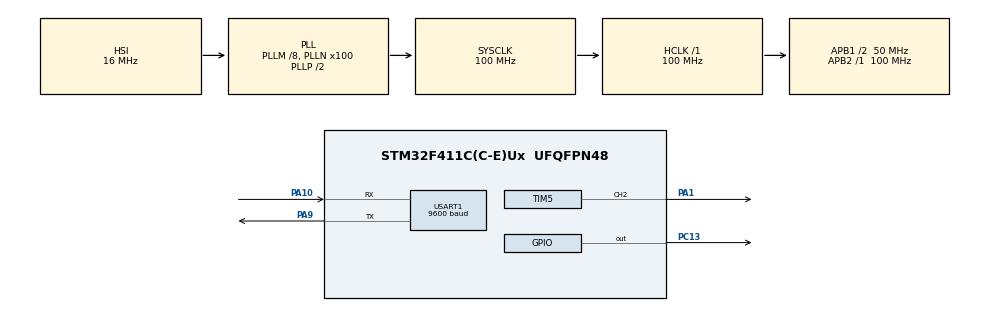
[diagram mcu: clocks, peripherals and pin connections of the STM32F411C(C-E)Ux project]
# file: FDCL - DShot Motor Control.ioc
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Dma.Request0=TIM5_CH2
Dma.TIM5_CH2.0.Direction=DMA_MEMORY_TO_PERIPH
Dma.TIM5_CH2.0.FIFOMode=DMA_FIFOMODE_DISABLE
Dma.TIM5_CH2.0.Instance=DMA1_Stream4
Dma.TIM5_CH2.0.MemDataAlignment=DMA_MDATAALIGN_HALFWORD
Dma.TIM5_CH2.0.MemInc=DMA_MINC_ENABLE
Dma.TIM5_CH2.0.Mode=DMA_NORMAL
Dma.TIM5_CH2.0.PeriphDataAlignment=DMA_PDATAALIGN_HALFWORD
Dma.TIM5_CH2.0.PeriphInc=DMA_PINC_DISABLE
Dma.TIM5_CH2.0.Priority=DMA_PRIORITY_VERY_HIGH
Mcu.Family=STM32F4
Mcu.Name=STM32F411C(C-E)Ux
Mcu.Package=UFQFPN48
NVIC.DMA1_Stream4_IRQn=true\:0\:0\:false\:false\:true\:false\:true\:true
NVIC.PriorityGroup=NVIC_PRIORITYGROUP_4
PA1.GPIO_ModeDefaultPP=GPIO_MODE_AF_PP
PA1.GPIO_Speed=GPIO_SPEED_FREQ_VERY_HIGH
PA1.Signal=S_TIM5_CH2
PA10.Mode=Asynchronous
PA10.Signal=USART1_RX
PA9.Mode=Asynchronous
PA9.Signal=USART1_TX
PC13-ANTI_TAMP.GPIO_Speed=GPIO_SPEED_FREQ_LOW
PC13-ANTI_TAMP.PinState=GPIO_PIN_RESET
PC13-ANTI_TAMP.Signal=GPIO_Output
ProjectManager.HeapSize=0x200
ProjectManager.StackSize=0x400
ProjectManager.TargetToolchain=STM32CubeIDE
RCC.48MHZClocksFreq_Value=50000000
RCC.AHBFreq_Value=100000000
RCC.APB1CLKDivider=RCC_HCLK_DIV2
RCC.APB1Freq_Value=50000000
RCC.APB1TimFreq_Value=100000000
RCC.APB2Freq_Value=100000000
RCC.APB2TimFreq_Value=100000000
RCC.CortexFreq_Value=100000000
RCC.HCLKFreq_Value=100000000
RCC.HSE_VALUE=25000000
RCC.HSI_VALUE=16000000
RCC.LSE_VALUE=32768
RCC.PLLM=8
RCC.PLLN=100
RCC.SYSCLKFreq_VALUE=100000000
RCC.SYSCLKSource=RCC_SYSCLKSOURCE_PLLCLK
RCC.VCOOutputFreq_Value=200000000
SH.S_TIM5_CH2.0=TIM5_CH2,PWM Generation2 CH2
TIM5.AutoReloadPreload=TIM_AUTORELOAD_PRELOAD_DISABLE
TIM5.Channel-PWM\ Generation2\ CH2=TIM_CHANNEL_2
TIM5.OCPolarity_2=TIM_OCPOLARITY_LOW
TIM5.Period=166
USART1.BaudRate=9600
USART1.Mode=MODE_TX_RX
USART1.VirtualMode=VM_ASYNC
board=custom

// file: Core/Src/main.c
/* USER CODE BEGIN Header */
/**
  ******************************************************************************
  * @file           : main.c
  * @brief          : Main program body
  ******************************************************************************
  * @attention
  *
  * Copyright (c) 2025 STMicroelectronics.
  * All rights reserved.
  *
  * This software is licensed under terms that can be found in the LICENSE file
  * in the root directory of this software component.
  * If no LICENSE file comes with this software, it is provided AS-IS.
  *
  ******************************************************************************
  */
/* USER CODE END Header */
#include "main.h"

/* USER CODE BEGIN Includes */
#include "stm32f4xx_hal.h"
#include "stm32f4xx_hal_tim.h"
#include "stm32f4xx_hal_dma.h"
#include <stdio.h>

#define DSHOT600_US 1.67
#define DSHOT300_US 3.33
#define DSHOT150_US 6.67

#define DSHOT_MODE_US DSHOT600_US  // just swap this one line to change mode

#define DSHOT_FRAME_SIZE 16
#define DSHOT_BUFFER_SIZE (DSHOT_FRAME_SIZE + 2)  // 16 bits + 2 trailing zeros
#define DSHOT_TIMER_FREQ 100000000                // 100 MHz = 10 ns per tick

#define DSHOT_BIT_TICKS 167//((uint32_t)(DSHOT_MODE_US * (DSHOT_TIMER_FREQ / 1e6) + 0.5))

/* ----- HIGH AND LOW DEFINITIONS FOR LOW CH POLARITY ----- */
#define DSHOT_LOW ((DSHOT_BIT_TICKS * 750 + 500) / 1000)  // +50 for rounding
#define DSHOT_HIGH ((DSHOT_BIT_TICKS * 375 + 500) / 1000)   // +50 for rounding

#define STANDARD_DSHOT_DELAY 1000

extern UART_HandleTypeDef huart1;

/* USER CODE END Includes */

TIM_HandleTypeDef htim5;
DMA_HandleTypeDef hdma_tim5_ch2;

UART_HandleTypeDef huart1;

/* USER CODE BEGIN PV */
uint16_t dshot_buffer[DSHOT_BUFFER_SIZE];

volatile uint8_t dma_busy = 0;
/* USER CODE END PV */

void SystemClock_Config(void);
static void MX_GPIO_Init(void);
static void MX_DMA_Init(void);
static void MX_USART1_UART_Init(void);
static void MX_TIM5_Init(void);
/* USER CODE BEGIN PFP */
void DWT_Init(void);
/* USER CODE END PFP */

/* USER CODE BEGIN 0 */
static void prepare_dshot_packet(uint16_t throttle, uint8_t telemetry);
void send_dshot(uint16_t value, uint8_t telemetry);
void HAL_TIM_PWM_PulseFinishedCallback(TIM_HandleTypeDef *htim);

void delay_us(uint32_t us);
void ramp_dshot(uint16_t start, uint16_t stop, uint8_t telemetry);
void sustained_dshot300(uint16_t value, uint8_t telemetry, uint16_t duration_ms);
void delay_us(uint32_t us);
/* USER CODE END 0 */

int main(void)
{

  /* MCU Configuration--------------------------------------------------------*/

  /* Reset of all peripherals, Initializes the Flash interface and the Systick. */
  HAL_Init();

  /* USER CODE BEGIN Init */
  DWT_Init();
  SystemClock_Config();
  SystemCoreClockUpdate();
  /* USER CODE END Init */

  /* Configure the system clock */
  SystemClock_Config();

  /* Initialize all configured peripherals */
  MX_GPIO_Init();
  MX_DMA_Init();
  MX_USART1_UART_Init();
  MX_TIM5_Init();
  /* USER CODE BEGIN 2 */

  uint32_t realHCLK = HAL_RCC_GetHCLKFreq();
  uint32_t realSys = HAL_RCC_GetSysClockFreq();

  printf("\nDShot Bit Ticks: %d\r\n", (int)DSHOT_BIT_TICKS);
  printf("DShot High: %d\r\n", (int)DSHOT_HIGH);
  printf("DShot Low: %d\r\n", (int)DSHOT_LOW);
  printf("DShot Buffer Size: %d\r\n", DSHOT_BUFFER_SIZE);
  printf("Real HCLK: %lu Hz\r\n", realHCLK);
  printf("Real SYSCLK: %lu Hz\r\n", realSys);
  //HAL_Delay(2500);

  /*
  //If using 25 us delay ----> 20 000 iterations needed for one second
  printf("ARMING.\r\n");
  for (int i = 0; i < 3; i++) {
      send_dshot(0, 0);
      HAL_Delay(1);
  }
  send_dshot(1, 0);  // BlueJay command for initialization (e.g., enable bidirectional mode)
  HAL_Delay(500);    // Wait 500 ms
  send_dshot(48, 0); // Minimum throttle
  HAL_Delay(500);    // Wait 500 ms
  printf("--------------- Initialization Complete ---------------\r\n");
  */
  /* USER CODE END 2 */

  /* Infinite loop */
  /* USER CODE BEGIN WHILE */
  //printf("Sending DShot Throttle Pulses\r\n");
  while (1)
  {
	  send_dshot(100,0);
	  delay_us(500);

  }
    /* USER CODE END WHILE */

}

void SystemClock_Config(void)
{
  RCC_OscInitTypeDef RCC_OscInitStruct = {0};
  RCC_ClkInitTypeDef RCC_ClkInitStruct = {0};

  /** Configure the main internal regulator output voltage
  */
  __HAL_RCC_PWR_CLK_ENABLE();
  __HAL_PWR_VOLTAGESCALING_CONFIG(PWR_REGULATOR_VOLTAGE_SCALE1);

  /** Initializes the RCC Oscillators according to the specified parameters
  * in the RCC_OscInitTypeDef structure.
  */
  RCC_OscInitStruct.OscillatorType = RCC_OSCILLATORTYPE_HSI;
  RCC_OscInitStruct.HSIState = RCC_HSI_ON;
  RCC_OscInitStruct.HSICalibrationValue = RCC_HSICALIBRATION_DEFAULT;
  RCC_OscInitStruct.PLL.PLLState = RCC_PLL_ON;
  RCC_OscInitStruct.PLL.PLLSource = RCC_PLLSOURCE_HSI;
  RCC_OscInitStruct.PLL.PLLM = 8;
  RCC_OscInitStruct.PLL.PLLN = 100;
  RCC_OscInitStruct.PLL.PLLP = RCC_PLLP_DIV2;
  RCC_OscInitStruct.PLL.PLLQ = 4;
  if (HAL_RCC_OscConfig(&RCC_OscInitStruct) != HAL_OK)
  {
    Error_Handler();
  }

  /** Initializes the CPU, AHB and APB buses clocks
  */
  RCC_ClkInitStruct.ClockType = RCC_CLOCKTYPE_HCLK|RCC_CLOCKTYPE_SYSCLK
                              |RCC_CLOCKTYPE_PCLK1|RCC_CLOCKTYPE_PCLK2;
  RCC_ClkInitStruct.SYSCLKSource = RCC_SYSCLKSOURCE_PLLCLK;
  RCC_ClkInitStruct.AHBCLKDivider = RCC_SYSCLK_DIV1;
  RCC_ClkInitStruct.APB1CLKDivider = RCC_HCLK_DIV2;
  RCC_ClkInitStruct.APB2CLKDivider = RCC_HCLK_DIV1;

  if (HAL_RCC_ClockConfig(&RCC_ClkInitStruct, FLASH_LATENCY_3) != HAL_OK)
  {
    Error_Handler();
  }
}

static void MX_TIM5_Init(void)
{

  TIM_MasterConfigTypeDef sMasterConfig = {0};
  TIM_OC_InitTypeDef sConfigOC = {0};

  htim5.Instance = TIM5;
  htim5.Init.Prescaler = 0;
  htim5.Init.CounterMode = TIM_COUNTERMODE_UP;
  htim5.Init.Period = 166;
  htim5.Init.ClockDivision = TIM_CLOCKDIVISION_DIV1;
  htim5.Init.AutoReloadPreload = TIM_AUTORELOAD_PRELOAD_DISABLE;
  if (HAL_TIM_PWM_Init(&htim5) != HAL_OK)
  {
    Error_Handler();
  }
  sMasterConfig.MasterOutputTrigger = TIM_TRGO_RESET;
  sMasterConfig.MasterSlaveMode = TIM_MASTERSLAVEMODE_DISABLE;
  if (HAL_TIMEx_MasterConfigSynchronization(&htim5, &sMasterConfig) != HAL_OK)
  {
    Error_Handler();
  }
  sConfigOC.OCMode = TIM_OCMODE_PWM1;
  sConfigOC.Pulse = 0;
  sConfigOC.OCPolarity = TIM_OCPOLARITY_LOW;
  sConfigOC.OCFastMode = TIM_OCFAST_DISABLE;
  if (HAL_TIM_PWM_ConfigChannel(&htim5, &sConfigOC, TIM_CHANNEL_2) != HAL_OK)
  {
    Error_Handler();
  }
  /* USER CODE BEGIN TIM5_Init 2 */
  // After configuring PWM channel
  /* USER CODE END TIM5_Init 2 */
  HAL_TIM_MspPostInit(&htim5);

}

static void MX_USART1_UART_Init(void)
{

  huart1.Instance = USART1;
  huart1.Init.BaudRate = 9600;
  huart1.Init.WordLength = UART_WORDLENGTH_8B;
  huart1.Init.StopBits = UART_STOPBITS_1;
  huart1.Init.Parity = UART_PARITY_NONE;
  huart1.Init.Mode = UART_MODE_TX_RX;
  huart1.Init.HwFlowCtl = UART_HWCONTROL_NONE;
  huart1.Init.OverSampling = UART_OVERSAMPLING_16;
  if (HAL_UART_Init(&huart1) != HAL_OK)
  {
    Error_Handler();
  }

}

static void MX_DMA_Init(void)
{

  /* DMA controller clock enable */
  __HAL_RCC_DMA1_CLK_ENABLE();

  /* DMA interrupt init */
  /* DMA1_Stream4_IRQn interrupt configuration */
  HAL_NVIC_SetPriority(DMA1_Stream4_IRQn, 0, 0);
  HAL_NVIC_EnableIRQ(DMA1_Stream4_IRQn);

}

static void MX_GPIO_Init(void)
{
  GPIO_InitTypeDef GPIO_InitStruct = {0};

  /* GPIO Ports Clock Enable */
  __HAL_RCC_GPIOC_CLK_ENABLE();
  __HAL_RCC_GPIOA_CLK_ENABLE();

  /*Configure GPIO pin Output Level */
  HAL_GPIO_WritePin(GPIOC, GPIO_PIN_13, GPIO_PIN_RESET);

  /*Configure GPIO pin : PC13 */
  GPIO_InitStruct.Pin = GPIO_PIN_13;
  GPIO_InitStruct.Mode = GPIO_MODE_OUTPUT_PP;
  GPIO_InitStruct.Pull = GPIO_NOPULL;
  GPIO_InitStruct.Speed = GPIO_SPEED_FREQ_LOW;
  HAL_GPIO_Init(GPIOC, &GPIO_InitStruct);

}

/* USER CODE BEGIN 4 */
/**
 * @brief Prepares the DShot packet and fills the DMA buffer.
 * @param throttle: Throttle value (0-2047)
 * @param telemetry: Telemetry request flag (0 or 1)
 */
/**
 * @brief Prepares the DShot packet and fills the DMA buffer.
 * @param throttle: Throttle value (0-2047)
 * @param telemetry: Telemetry request flag (0 or 1)
 */
static void prepare_dshot_packet(uint16_t throttle, uint8_t telemetry) {
    // 1. Construct 12-bit payload: [11-bit throttle][1-bit telemetry]
    uint16_t payload = ((throttle & 0x07FF) << 1) | (telemetry & 0x01);

    // 2. Compute 4-bit checksum
    uint16_t csum_data = payload;
    uint16_t csum = 0;
    for (int i = 0; i < 3; i++) {
        csum ^= csum_data;          // xor data
        csum_data >>= 4;            // shift to next nibble
    }
    uint8_t checksum = csum & 0x0F;

    // 3. Combine payload and checksum into 16-bit packet
    uint16_t packet = (payload << 4) | checksum;

    // 4. Translate packet bits into PWM duty cycles
    for (int i = 0; i < DSHOT_FRAME_SIZE; i++) {
        if (packet & (1 << (15 - i))) {
            dshot_buffer[i] = DSHOT_HIGH;  // High-time for '1' bit
        } else {
            dshot_buffer[i] = DSHOT_LOW;   // Low-time for '0' bit
        }
    }

    // 5. Append two trailing zeros to ensure line idles low after transmission
    dshot_buffer[16] = 0;
    dshot_buffer[17] = 0;
}

/**
 * @brief Sends a DShot command via PWM and DMA.
 * @param throttle: Throttle value (0-2047)
 * @param telemetry: Telemetry request flag (0 or 1)
 */
void send_dshot(uint16_t throttle, uint8_t telemetry) {
    if (dma_busy) return; // Prevent overlapping transmissions

    prepare_dshot_packet(throttle, telemetry);

    dma_busy = 1;

    // Start PWM with DMA
    if (HAL_TIM_PWM_Start_DMA(&htim5, TIM_CHANNEL_2, (uint32_t*)dshot_buffer, DSHOT_BUFFER_SIZE) != HAL_OK) {
        // Handle error
        dma_busy = 0;
    }
}

void sustained_bdshot(uint16_t value, uint8_t telemetry, uint16_t duration_ms){
	printf("Sending Sustained DShot300 Pulse for %d Milliseconds.\r\n", duration_ms);
	//Convert ms to iterations: (1 ms) (1 us / .001 ms) (1 iteration / 50 us)

	float iterations_f = (float)duration_ms * 1000.0f / STANDARD_DSHOT_DELAY;  // 1 ms = 1000 us, 1 iteration every 50 us
	int iterations = (int)(iterations_f + 0.5);
	for (int i = 0; i < iterations; i++){
		send_dshot(value, telemetry);
		delay_us(STANDARD_DSHOT_DELAY);
	}
}

void ramp_dshot(uint16_t start, uint16_t stop, uint8_t telemetry){
	// Clamp to valid DShot throttle range
	if (start < 48) start = 48;
	if (stop > 2047) stop = 2047;

	 if (start <= stop) {
	        for (int i = start; i <= stop; i++) {
	            send_dshot(i, telemetry);
	            HAL_Delay(1);
	        }
	    }
	 else return;
}

/**
 * @brief Callback function called when PWM pulse is finished.
 * @param htim: Pointer to TIM handle
 */
void HAL_TIM_PWM_PulseFinishedCallback(TIM_HandleTypeDef *htim) {
    if (htim->Instance == TIM5 && htim->Channel == HAL_TIM_ACTIVE_CHANNEL_2) {
        HAL_TIM_PWM_Stop_DMA(htim, TIM_CHANNEL_2);
        dma_busy = 0;
    }
}

void delay_us(uint32_t us)
{
	uint32_t start = DWT->CYCCNT;
	uint32_t ticks = us * (HAL_RCC_GetHCLKFreq() / 1000000);
	while ((DWT->CYCCNT - start) < ticks);

}

void DWT_Init(void){
	if (!(CoreDebug->DEMCR & CoreDebug_DEMCR_TRCENA_Msk)) {
	        CoreDebug->DEMCR |= CoreDebug_DEMCR_TRCENA_Msk;
	    }

	    DWT->CYCCNT = 0;                             // Reset the counter
	    DWT->CTRL |= DWT_CTRL_CYCCNTENA_Msk;         // Enable the counter
}

int _write(int file, char *ptr, int len)
{
    HAL_UART_Transmit(&huart1, (uint8_t *)ptr, len, HAL_MAX_DELAY);
    return len;
}
/* USER CODE END 4 */

void Error_Handler(void)
{
  __disable_irq();
  while (1)
  {
  }
}
